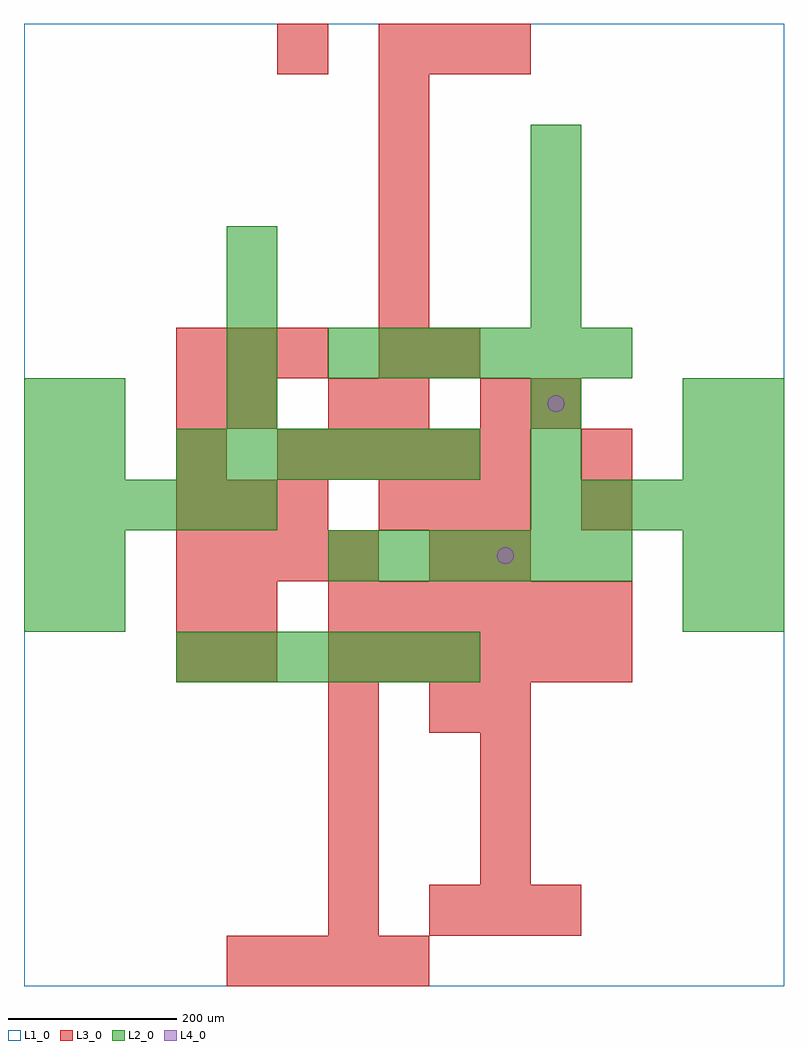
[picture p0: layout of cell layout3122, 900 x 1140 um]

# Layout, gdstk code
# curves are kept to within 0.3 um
import gdstk
lib = gdstk.Library(unit=1e-6, precision=1e-09)
def R(c, l, rs):  # rectangles x0, y0, x1, y1
    for r in rs: c.add(gdstk.rectangle(r[:2], r[2:], *l))
def A(c, l, x, y, w, h, nx, ny, dx, dy):  # array of equal rectangles
    R(c, l, [(x+i*dx, y+j*dy, x+i*dx+w, y+j*dy+h) for i in range(nx) for j in range(ny)])
def P(c, l, *ps):  # polygons
    for p in ps: c.add(gdstk.Polygon(p, *l))
L1_0 = (1, 0)
L2_0 = (2, 0)
L3_0 = (3, 0)
L4_0 = (4, 0)

layout3122 = lib.new_cell('layout3122')
R(layout3122, L1_0, [(0,0,900,1140)])
A(layout3122, L2_0, 180, 360, 60, 60, 6, 2, 60, 240)
A(layout3122, L2_0, 360, 480, 60, 60, 6, 2, 60, 240)
A(layout3122, L2_0, 0, 540, 60, 60, 5, 1, 60, 0)
A(layout3122, L2_0, 600, 540, 60, 60, 5, 1, 60, 0)
A(layout3122, L2_0, 240, 660, 60, 60, 1, 4, 0, 60)
A(layout3122, L2_0, 600, 780, 60, 60, 1, 4, 0, 60)
R(layout3122, L2_0, [(0,420,60,480), (60,420,120,480), (780,420,840,480), (840,420,900,480), (0,480,60,540), (60,480,120,540), (780,480,840,540), (840,480,900,540), (0,600,60,660), (60,600,120,660), (600,600,660,660), (780,600,840,660), (840,600,900,660), (0,660,60,720), (60,660,120,720), (600,660,660,720), (780,660,840,720), (840,660,900,720)])
A(layout3122, L3_0, 240, 0, 60, 60, 4, 1, 60, 0)
A(layout3122, L3_0, 360, 60, 60, 60, 1, 5, 0, 60)
A(layout3122, L3_0, 480, 60, 60, 60, 3, 1, 60, 0)
A(layout3122, L3_0, 540, 120, 60, 60, 1, 4, 0, 60)
A(layout3122, L3_0, 360, 360, 60, 60, 6, 2, 60, 60)
A(layout3122, L3_0, 180, 480, 60, 60, 4, 1, 60, 0)
A(layout3122, L3_0, 180, 540, 60, 60, 3, 2, 60, 180)
A(layout3122, L3_0, 420, 540, 60, 60, 3, 2, 60, 540)
A(layout3122, L3_0, 300, 600, 60, 60, 5, 1, 60, 0)
A(layout3122, L3_0, 420, 660, 60, 60, 1, 7, 0, 60)
R(layout3122, L3_0, [(480,300,540,360), (180,360,240,420), (240,360,300,420), (180,420,240,480), (240,420,300,480), (480,480,540,540), (540,480,600,540), (660,540,720,600), (180,600,240,660), (660,600,720,660), (180,660,240,720), (240,660,300,720), (360,660,420,720), (540,660,600,720), (600,660,660,720), (480,720,540,780), (300,1080,360,1140)])
P(layout3122, L4_0, [(580,510),(579.239,513.827),(577.071,517.071),(573.827,519.239),(570,520),(566.173,519.239),(562.929,517.071),(560.761,513.827),(560,510),(560.761,506.173),(562.929,502.929),(566.173,500.761),(570,500),(573.827,500.761),(577.071,502.929),(579.239,506.173)],
  [(640,690),(639.239,693.827),(637.071,697.071),(633.827,699.239),(630,700),(626.173,699.239),(622.929,697.071),(620.761,693.827),(620,690),(620.761,686.173),(622.929,682.929),(626.173,680.761),(630,680),(633.827,680.761),(637.071,682.929),(639.239,686.173)])

lib.write_gds('layout3122.gds')
